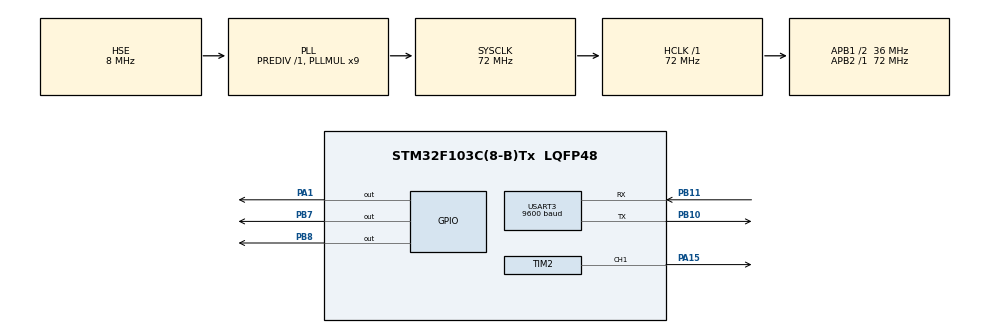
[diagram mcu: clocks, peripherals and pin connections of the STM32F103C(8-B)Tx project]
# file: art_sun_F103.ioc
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Dma.Request0=USART3_RX
Dma.USART3_RX.0.Direction=DMA_PERIPH_TO_MEMORY
Dma.USART3_RX.0.Instance=DMA1_Channel3
Dma.USART3_RX.0.MemDataAlignment=DMA_MDATAALIGN_BYTE
Dma.USART3_RX.0.MemInc=DMA_MINC_ENABLE
Dma.USART3_RX.0.Mode=DMA_NORMAL
Dma.USART3_RX.0.PeriphDataAlignment=DMA_PDATAALIGN_BYTE
Dma.USART3_RX.0.PeriphInc=DMA_PINC_DISABLE
Dma.USART3_RX.0.Priority=DMA_PRIORITY_MEDIUM
Mcu.Family=STM32F1
Mcu.Name=STM32F103C(8-B)Tx
Mcu.Package=LQFP48
NVIC.DMA1_Channel3_IRQn=true\:0\:0\:false\:false\:true
NVIC.PriorityGroup=NVIC_PRIORITYGROUP_4
NVIC.RTC_Alarm_IRQn=true\:0\:0\:false\:false\:true
NVIC.USART3_IRQn=true\:0\:0\:false\:false\:true
PA1.Signal=GPIO_Output
PA15.Signal=S_TIM2_CH1_ETR
PB10.Mode=Asynchronous
PB10.Signal=USART3_TX
PB11.Mode=Asynchronous
PB11.Signal=USART3_RX
PB7.Signal=GPIO_Output
PB8.Signal=GPIO_Output
PC14-OSC32_IN.Mode=LSE-External-Oscillator
PC14-OSC32_IN.Signal=RCC_OSC32_IN
PC15-OSC32_OUT.Mode=LSE-External-Oscillator
PC15-OSC32_OUT.Signal=RCC_OSC32_OUT
PD0-OSC_IN.Mode=HSE-External-Oscillator
PD0-OSC_IN.Signal=RCC_OSC_IN
PD1-OSC_OUT.Mode=HSE-External-Oscillator
PD1-OSC_OUT.Signal=RCC_OSC_OUT
ProjectManager.HeapSize=0x200
ProjectManager.StackSize=0x400
ProjectManager.TargetToolchain=EWARM
RCC.AHBFreq_Value=72000000
RCC.APB1CLKDivider=RCC_HCLK_DIV2
RCC.APB1Freq_Value=36000000
RCC.APB1TimFreq_Value=72000000
RCC.APB2Freq_Value=72000000
RCC.APB2TimFreq_Value=72000000
RCC.HCLKFreq_Value=72000000
RCC.HSIState=RCC_HSI_ON
RCC.PLLMUL=RCC_PLL_MUL9
RCC.PLLSourceVirtual=RCC_PLLSOURCE_HSE
RCC.SYSCLKFreq_VALUE=72000000
RCC.SYSCLKSource=RCC_SYSCLKSOURCE_PLLCLK
RCC.USBFreq_Value=72000000
RTC.Format=RTC_FORMAT_BIN
SH.S_TIM2_CH1_ETR.0=TIM2_CH1,PWM Generation1 CH1
TIM2.Period=65535
USART3.BaudRate=9600
USART3.Parity=UART_PARITY_NONE
USART3.StopBits=UART_STOPBITS_1
USART3.WordLength=UART_WORDLENGTH_8B
VP_RTC_No_RTC_Output.Mode=RTC_OUT_NO
VP_SYS_VS_ND.Mode=No_Debug
VP_TIM2_VS_ClockSourceINT.Mode=Internal
board=art_sun_F103

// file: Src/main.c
/**
  ******************************************************************************
  * File Name          : main.c
  * Description        : Main program body
  ******************************************************************************
  *
  * COPYRIGHT(c) 2017 STMicroelectronics
  *
  * Redistribution and use in source and binary forms, with or without modification,
  * are permitted provided that the following conditions are met:
  *   1. Redistributions of source code must retain the above copyright notice,
  *      this list of conditions and the following disclaimer.
  *   2. Redistributions in binary form must reproduce the above copyright notice,
  *      this list of conditions and the following disclaimer in the documentation
  *      and/or other materials provided with the distribution.
  *   3. Neither the name of STMicroelectronics nor the names of its contributors
  *      may be used to endorse or promote products derived from this software
  *      without specific prior written permission.
  *
  * THIS SOFTWARE IS PROVIDED BY THE COPYRIGHT HOLDERS AND CONTRIBUTORS "AS IS"
  * AND ANY EXPRESS OR IMPLIED WARRANTIES, INCLUDING, BUT NOT LIMITED TO, THE
  * IMPLIED WARRANTIES OF MERCHANTABILITY AND FITNESS FOR A PARTICULAR PURPOSE ARE
  * DISCLAIMED. IN NO EVENT SHALL THE COPYRIGHT HOLDER OR CONTRIBUTORS BE LIABLE
  * FOR ANY DIRECT, INDIRECT, INCIDENTAL, SPECIAL, EXEMPLARY, OR CONSEQUENTIAL
  * DAMAGES (INCLUDING, BUT NOT LIMITED TO, PROCUREMENT OF SUBSTITUTE GOODS OR
  * SERVICES; LOSS OF USE, DATA, OR PROFITS; OR BUSINESS INTERRUPTION) HOWEVER
  * CAUSED AND ON ANY THEORY OF LIABILITY, WHETHER IN CONTRACT, STRICT LIABILITY,
  * OR TORT (INCLUDING NEGLIGENCE OR OTHERWISE) ARISING IN ANY WAY OUT OF THE USE
  * OF THIS SOFTWARE, EVEN IF ADVISED OF THE POSSIBILITY OF SUCH DAMAGE.
  *
  ******************************************************************************
  */
#include "stm32f1xx_hal.h"

RTC_HandleTypeDef hrtc;

TIM_HandleTypeDef htim2;

UART_HandleTypeDef huart3;
DMA_HandleTypeDef hdma_usart3_rx;

/* USER CODE BEGIN PV */
/* Private variables ---------------------------------------------------------*/

uint8_t timeH;
uint8_t timeM;
uint8_t timeS;

uint8_t transmitBuffer[32];
uint8_t receiveBuffer[32];

RTC_TimeTypeDef sTime;
RTC_DateTypeDef sDate;

/* USER CODE END PV */

void SystemClock_Config(void);
void Error_Handler(void);
static void MX_GPIO_Init(void);
static void MX_DMA_Init(void);
static void MX_RTC_Init(void);
static void MX_USART3_UART_Init(void);
static void MX_TIM2_Init(void);

void HAL_TIM_MspPostInit(TIM_HandleTypeDef *htim);

/* USER CODE BEGIN PFP */
/* Private function prototypes -----------------------------------------------*/

/* USER CODE END PFP */

int main(void)
{

  /* MCU Configuration----------------------------------------------------------*/

  /* Reset of all peripherals, Initializes the Flash interface and the Systick. */
  HAL_Init();

  /* Configure the system clock */
  SystemClock_Config();

  /* Initialize all configured peripherals */
  MX_GPIO_Init();
  MX_DMA_Init();
  MX_RTC_Init();
  MX_USART3_UART_Init();
  MX_TIM2_Init();

  /* USER CODE BEGIN 2 */

  /* Set Alarm*/

  RTC_AlarmTypeDef sAlarm;

  sAlarm.AlarmTime.Hours = 5;
  sAlarm.AlarmTime.Minutes = 0;
  sAlarm.AlarmTime.Seconds = 0;
  sAlarm.Alarm = RTC_ALARM_A;

  HAL_RTC_SetAlarm_IT(&hrtc, &sAlarm, RTC_FORMAT_BIN);

  /* After Alarm */

  HAL_TIM_Base_Start(&htim2);
  HAL_TIM_PWM_Start(&htim2, TIM_CHANNEL_1);

  transmitBuffer[0] = 'S';
  transmitBuffer[1] = 'T';
  transmitBuffer[2] = 'A';
  transmitBuffer[3] = 'R';
  transmitBuffer[4] = 'T';
  transmitBuffer[5] = '\n';
  HAL_UART_Transmit(&huart3, transmitBuffer, 6, 10);

  HAL_UART_Receive_DMA(&huart3, receiveBuffer, 9);

  HAL_GPIO_WritePin(GPIOB, GPIO_PIN_7, GPIO_PIN_RESET);
  HAL_GPIO_WritePin(GPIOB, GPIO_PIN_8, GPIO_PIN_RESET);

  HAL_GPIO_WritePin(GPIOA, GPIO_PIN_1, GPIO_PIN_SET);

  /* USER CODE END 2 */

  /* Infinite loop */
  while (1)
  {

  }

}

/** System Clock Configuration
*/
void SystemClock_Config(void)
{

  RCC_OscInitTypeDef RCC_OscInitStruct;
  RCC_ClkInitTypeDef RCC_ClkInitStruct;
  RCC_PeriphCLKInitTypeDef PeriphClkInit;

  RCC_OscInitStruct.OscillatorType = RCC_OSCILLATORTYPE_LSI|RCC_OSCILLATORTYPE_HSE;
  RCC_OscInitStruct.HSEState = RCC_HSE_ON;
  RCC_OscInitStruct.HSEPredivValue = RCC_HSE_PREDIV_DIV1;
  RCC_OscInitStruct.LSIState = RCC_LSI_ON;
  RCC_OscInitStruct.PLL.PLLState = RCC_PLL_ON;
  RCC_OscInitStruct.PLL.PLLSource = RCC_PLLSOURCE_HSE;
  RCC_OscInitStruct.PLL.PLLMUL = RCC_PLL_MUL9;
  if (HAL_RCC_OscConfig(&RCC_OscInitStruct) != HAL_OK)
  {
    Error_Handler();
  }

  RCC_ClkInitStruct.ClockType = RCC_CLOCKTYPE_HCLK|RCC_CLOCKTYPE_SYSCLK
                              |RCC_CLOCKTYPE_PCLK1|RCC_CLOCKTYPE_PCLK2;
  RCC_ClkInitStruct.SYSCLKSource = RCC_SYSCLKSOURCE_PLLCLK;
  RCC_ClkInitStruct.AHBCLKDivider = RCC_SYSCLK_DIV1;
  RCC_ClkInitStruct.APB1CLKDivider = RCC_HCLK_DIV2;
  RCC_ClkInitStruct.APB2CLKDivider = RCC_HCLK_DIV1;
  if (HAL_RCC_ClockConfig(&RCC_ClkInitStruct, FLASH_LATENCY_2) != HAL_OK)
  {
    Error_Handler();
  }

  PeriphClkInit.PeriphClockSelection = RCC_PERIPHCLK_RTC;
  PeriphClkInit.RTCClockSelection = RCC_RTCCLKSOURCE_LSI;
  if (HAL_RCCEx_PeriphCLKConfig(&PeriphClkInit) != HAL_OK)
  {
    Error_Handler();
  }

  HAL_SYSTICK_Config(HAL_RCC_GetHCLKFreq()/1000);

  HAL_SYSTICK_CLKSourceConfig(SYSTICK_CLKSOURCE_HCLK);

  /* SysTick_IRQn interrupt configuration */
  HAL_NVIC_SetPriority(SysTick_IRQn, 0, 0);
}

/* RTC init function */
static void MX_RTC_Init(void)
{

  RTC_TimeTypeDef sTime;
  RTC_DateTypeDef DateToUpdate;

    /**Initialize RTC and set the Time and Date
    */
  hrtc.Instance = RTC;
  hrtc.Init.AsynchPrediv = RTC_AUTO_1_SECOND;
  hrtc.Init.OutPut = RTC_OUTPUTSOURCE_NONE;
  if (HAL_RTC_Init(&hrtc) != HAL_OK)
  {
    Error_Handler();
  }

  sTime.Hours = 0;
  sTime.Minutes = 0;
  sTime.Seconds = 0;

  if (HAL_RTC_SetTime(&hrtc, &sTime, RTC_FORMAT_BIN) != HAL_OK)
  {
    Error_Handler();
  }

  DateToUpdate.WeekDay = RTC_WEEKDAY_MONDAY;
  DateToUpdate.Month = RTC_MONTH_JANUARY;
  DateToUpdate.Date = 1;
  DateToUpdate.Year = 0;

  if (HAL_RTC_SetDate(&hrtc, &DateToUpdate, RTC_FORMAT_BIN) != HAL_OK)
  {
    Error_Handler();
  }

}

/* TIM2 init function */
static void MX_TIM2_Init(void)
{

  TIM_ClockConfigTypeDef sClockSourceConfig;
  TIM_MasterConfigTypeDef sMasterConfig;
  TIM_OC_InitTypeDef sConfigOC;

  htim2.Instance = TIM2;
  htim2.Init.Prescaler = 0;
  htim2.Init.CounterMode = TIM_COUNTERMODE_UP;
  htim2.Init.Period = 65535;
  htim2.Init.ClockDivision = TIM_CLOCKDIVISION_DIV1;
  if (HAL_TIM_Base_Init(&htim2) != HAL_OK)
  {
    Error_Handler();
  }

  sClockSourceConfig.ClockSource = TIM_CLOCKSOURCE_INTERNAL;
  if (HAL_TIM_ConfigClockSource(&htim2, &sClockSourceConfig) != HAL_OK)
  {
    Error_Handler();
  }

  if (HAL_TIM_PWM_Init(&htim2) != HAL_OK)
  {
    Error_Handler();
  }

  sMasterConfig.MasterOutputTrigger = TIM_TRGO_RESET;
  sMasterConfig.MasterSlaveMode = TIM_MASTERSLAVEMODE_DISABLE;
  if (HAL_TIMEx_MasterConfigSynchronization(&htim2, &sMasterConfig) != HAL_OK)
  {
    Error_Handler();
  }

  sConfigOC.OCMode = TIM_OCMODE_PWM1;
  sConfigOC.Pulse = 0;
  sConfigOC.OCPolarity = TIM_OCPOLARITY_HIGH;
  sConfigOC.OCFastMode = TIM_OCFAST_DISABLE;
  if (HAL_TIM_PWM_ConfigChannel(&htim2, &sConfigOC, TIM_CHANNEL_1) != HAL_OK)
  {
    Error_Handler();
  }

  HAL_TIM_MspPostInit(&htim2);

}

/* USART3 init function */
static void MX_USART3_UART_Init(void)
{

  huart3.Instance = USART3;
  huart3.Init.BaudRate = 9600;
  huart3.Init.WordLength = UART_WORDLENGTH_8B;
  huart3.Init.StopBits = UART_STOPBITS_1;
  huart3.Init.Parity = UART_PARITY_NONE;
  huart3.Init.Mode = UART_MODE_TX_RX;
  huart3.Init.HwFlowCtl = UART_HWCONTROL_NONE;
  huart3.Init.OverSampling = UART_OVERSAMPLING_16;
  if (HAL_UART_Init(&huart3) != HAL_OK)
  {
    Error_Handler();
  }

}

static void MX_DMA_Init(void)
{
  /* DMA controller clock enable */
  __HAL_RCC_DMA1_CLK_ENABLE();

  /* DMA interrupt init */
  /* DMA1_Channel3_IRQn interrupt configuration */
  HAL_NVIC_SetPriority(DMA1_Channel3_IRQn, 0, 0);
  HAL_NVIC_EnableIRQ(DMA1_Channel3_IRQn);

}

/** Configure pins as
        * Analog
        * Input
        * Output
        * EVENT_OUT
        * EXTI
*/
static void MX_GPIO_Init(void)
{

  GPIO_InitTypeDef GPIO_InitStruct;

  /* GPIO Ports Clock Enable */
  __HAL_RCC_GPIOC_CLK_ENABLE();
  __HAL_RCC_GPIOD_CLK_ENABLE();
  __HAL_RCC_GPIOA_CLK_ENABLE();
  __HAL_RCC_GPIOB_CLK_ENABLE();

  /*Configure GPIO pin Output Level */
  HAL_GPIO_WritePin(GPIOA, GPIO_PIN_1, GPIO_PIN_RESET);

  /*Configure GPIO pin Output Level */
  HAL_GPIO_WritePin(GPIOB, GPIO_PIN_7|GPIO_PIN_8, GPIO_PIN_RESET);

  /*Configure GPIO pin : PA1 */
  GPIO_InitStruct.Pin = GPIO_PIN_1;
  GPIO_InitStruct.Mode = GPIO_MODE_OUTPUT_PP;
  GPIO_InitStruct.Speed = GPIO_SPEED_FREQ_LOW;
  HAL_GPIO_Init(GPIOA, &GPIO_InitStruct);

  /*Configure GPIO pins : PB7 PB8 */
  GPIO_InitStruct.Pin = GPIO_PIN_7|GPIO_PIN_8;
  GPIO_InitStruct.Mode = GPIO_MODE_OUTPUT_PP;
  GPIO_InitStruct.Speed = GPIO_SPEED_FREQ_LOW;
  HAL_GPIO_Init(GPIOB, &GPIO_InitStruct);

}

void Error_Handler(void)
{
  while(1)
  {
  }
}

/************************ (C) COPYRIGHT STMicroelectronics *****END OF FILE****/
